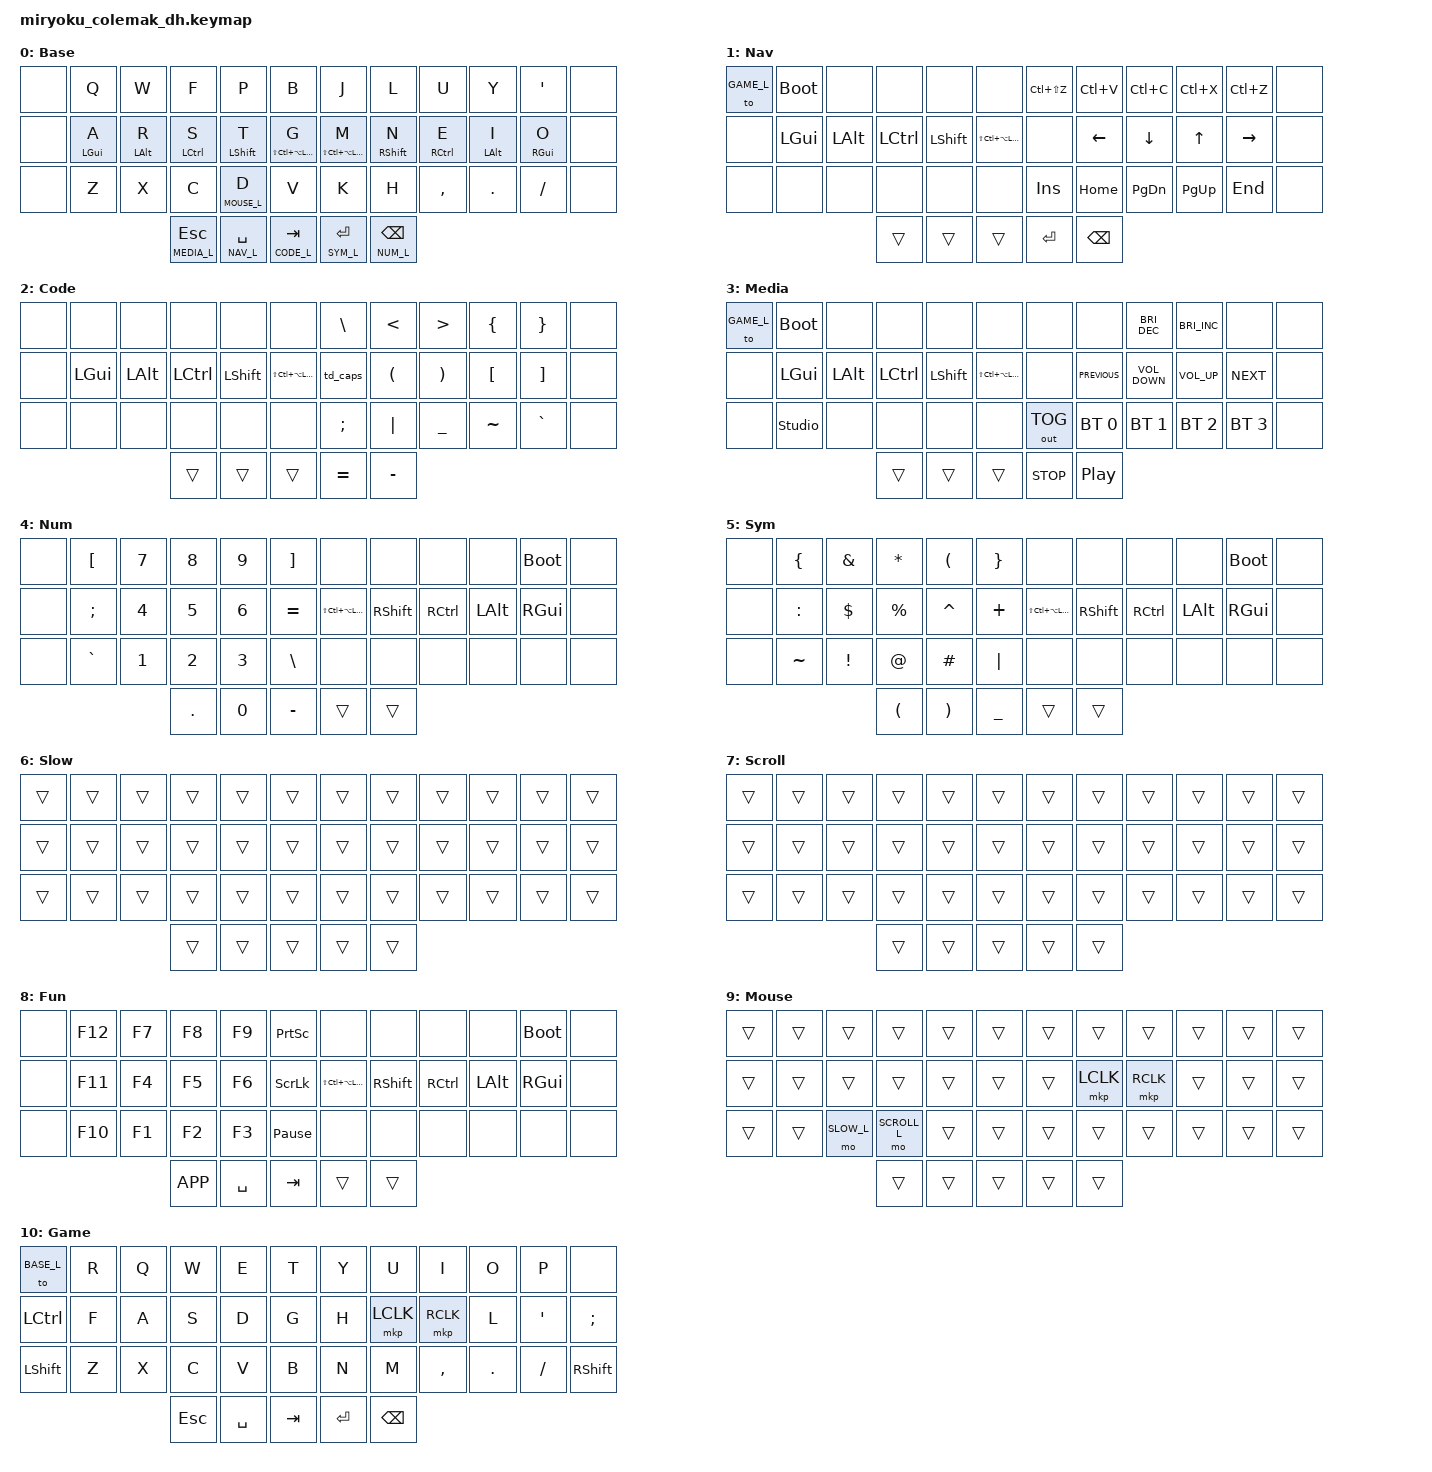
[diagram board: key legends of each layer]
/* upstream bindings and behaviors */
#include <behaviors.dtsi>
#include <dt-bindings/zmk/bt.h>
#include <dt-bindings/zmk/keys.h>
#include <dt-bindings/zmk/mouse.h>
#include <dt-bindings/zmk/outputs.h>
#include <behaviors/mouse_keys.dtsi>
#include <dt-bindings/zmk/ext_power.h>

/* local overlays */
#include "keymap_features/macros.dtsi"
#include "keymap_features/behaviors.dtsi"
/* NOTE: combos.dtsi is intentionally NOT included -- its combos are tuned for
 *       colemak_dh.keymap (e.g. <38 39> -> &td_bore) and collide with the
 *       miryoku thumb chord below. Miryoku-specific combos live in this file. */

/* KEY POSITIONS
// |--0----1----2----3----4----5--|  |--6----7----8----9---10---11--|
// |-12---13---14---15---16---17--|  |-18---19---20---21---22---23--|
// |-24---25---26---27---28---29--|  |-30---31---32---33---34---35--|
//                |-36---37---38-|    |-39---40-|
// Layers 6 and 7 are reserved for trackball modes (slow/scroll). */

/* SLOW_L and SCROLL_L must keep indices 6 and 7.
 * See LAYER INDICES 6 AND 7 ARE RESERVED. */
/* Hyper = all four mods. Hold inner-column home row for Hyper on base;
 * plain &kp HYPER on each layer's same-hand side. */
#define HYPER LS(LC(LA(LGUI)))

#define BASE_L     0
#define NAV_L      1
#define CODE_L     2
#define MEDIA_L    3
#define NUM_L      4
#define SYM_L      5
#define SLOW_L     6
#define SCROLL_L   7
#define FUN_L      8
#define MOUSE_L    9
#define GAME_L    10

/ {
    behaviors {
        /* Thumb layer-taps. Same flavor and term as ZMK's &lt, plus
         * quick-tap-ms. See THUMB QUICK-TAP. */
        lt_qt: layer_tap_quick_tap {
            compatible = "zmk,behavior-hold-tap";
            #binding-cells = <2>;
            flavor = "tap-preferred";
            tapping-term-ms = <200>;
            quick-tap-ms = <150>;
            bindings = <&mo>, <&kp>;    // hold = layer, tap = key code
        };

        /* Inner-column Hyper: hold G or M for Ctrl+Alt+Shift+Gui. */
        ht_hyper_l: hold_tap_hyper_left {
            compatible = "zmk,behavior-hold-tap";
            #binding-cells = <2>;
            flavor = "balanced";
            tapping-term-ms = <200>;
            quick-tap-ms = <175>;
            require-prior-idle-ms = <150>;
            bindings = <&kp>, <&kp>;
            hold-trigger-key-positions = <KEYS_R THUMBS>;
            hold-trigger-on-release;
        };

        ht_hyper_r: hold_tap_hyper_right {
            compatible = "zmk,behavior-hold-tap";
            #binding-cells = <2>;
            flavor = "balanced";
            tapping-term-ms = <200>;
            quick-tap-ms = <175>;
            require-prior-idle-ms = <150>;
            bindings = <&kp>, <&kp>;
            hold-trigger-key-positions = <KEYS_L THUMBS>;
            hold-trigger-on-release;
        };

        /* Tap = caps_word, double-tap = caps_lock. */
        td_caps: tap_dance_caps {
            compatible = "zmk,behavior-tap-dance";
            #binding-cells = <0>;
            tapping-term-ms = <200>;
            bindings = <&caps_word>, <&kp CAPS>;
        };

        /* Hold D to raise MOUSE. */
        ht_mouse: hold_tap_mouse_layer {
            compatible = "zmk,behavior-hold-tap";
            #binding-cells = <2>;
            flavor = "balanced";
            tapping-term-ms = <200>;
            quick-tap-ms = <175>;
            require-prior-idle-ms = <150>;
            hold-trigger-key-positions = <19 20 25 26 27>;  // N E (clicks) + Z X C (modes)
            bindings = <&mo>, <&kp>;
        };
    };

    combos {
        compatible = "zmk,combos";

	// click both mouse keys to create a middle click
        combo_middle_click {
            bindings = <&mkp MCLK>;
            key-positions = <19 20>;
            layers = <MOUSE_L GAME_L>;
            timeout-ms = <50>;
            slow-release;
        };

        /* if we hold the right thumb keys together, it becomes the
         * third right thumb key that we usually expect on such split keyboards */
        /* left thumbs 37+38 = the outer left thumb, one combo per layer */
        combo_thumb3l_base {
            bindings = <&lt_qt MEDIA_L ESC>;
            key-positions = <37 38>;
            layers = <BASE_L>;
            timeout-ms = <50>;
            slow-release;
        };

        combo_thumb3l_num {
            bindings = <&kp DOT>;
            key-positions = <37 38>;
            layers = <NUM_L>;
            timeout-ms = <50>;
        };

        combo_thumb3l_sym {
            bindings = <&kp LPAR>;
            key-positions = <37 38>;
            layers = <SYM_L>;
            timeout-ms = <50>;
        };

        combo_thumb3l_fun {
            bindings = <&kp K_APP>;
            key-positions = <37 38>;
            layers = <FUN_L>;
            timeout-ms = <50>;
        };

        /* awkward on purpose: left thumb layer + two top-row keys */
        combo_bt_clear {
            bindings = <&bt BT_CLR>;
            key-positions = <4 5>;
            layers = <NAV_L MEDIA_L>;
            timeout-ms = <50>;
        };

        combo_thumb3_base {
            bindings = <&lt_qt FUN_L DEL>;
            key-positions = <39 40>;
            layers = <BASE_L>;
            timeout-ms = <150>;
            slow-release;
        };

        combo_thumb3_nav {
            bindings = <&kp DEL>;
            key-positions = <39 40>;
            layers = <NAV_L>;
            timeout-ms = <150>;
        };

        combo_thumb3_media {
            bindings = <&kp K_MUTE>;
            key-positions = <39 40>;
            layers = <MEDIA_L>;
            timeout-ms = <150>;
        };

        combo_caps {
            bindings = <&td_caps>;
            key-positions = <16 19>;
            layers = <BASE_L>;
            timeout-ms = <50>;
        };
    };

    keymap {
        compatible = "zmk,keymap";

        base_layer {
            display-name = "Base";
            bindings = <
    &none       &kp Q            &kp W            &kp F             &kp P                &kp B                &kp J          &kp L              &kp U                 &kp Y                 &kp APOS          &none
    &none       &ht_left LGUI A  &ht_left LALT R  &ht_left LCTRL S  &ht_left LSHFT T     &ht_hyper_l HYPER G  &ht_hyper_r HYPER M  &ht_right RSHFT N  &ht_right RCTRL E     &ht_right LALT I      &ht_right RGUI O  &none
    &none       &kp Z            &kp X            &kp C             &ht_mouse MOUSE_L D  &kp V                &kp K          &kp H              &kp COMMA             &kp DOT               &kp FSLH          &none
                                             &lt_qt MEDIA_L ESC  &lt_qt NAV_L SPACE  &lt_qt CODE_L TAB      &lt_qt SYM_L ENTER  &lt_qt NUM_L BSPC
            >;
        };

        nav_layer {
            display-name = "Nav";
            bindings = <
    &to GAME_L  &bootloader      &none            &none             &none                &none                &kp LC(LS(Z))  &kp LC(V)          &kp LC(C)             &kp LC(X)             &kp LC(Z)         &none
    &none       &kp LGUI         &kp LALT         &kp LCTRL         &kp LSHFT            &kp HYPER            &none          &kp LEFT           &kp DOWN              &kp UP                &kp RIGHT         &none
    &none       &none            &none            &none             &none                &none                &kp INS        &kp HOME           &kp PG_DN             &kp PG_UP             &kp END           &none
                                             &trans              &trans              &trans                   &kp ENTER           &kp BSPC
            >;
        };

        code_layer {
            display-name = "Code";
            bindings = <
    &none       &none            &none            &none             &none                &none                &kp BSLH       &kp LT             &kp GT                &kp LBRC              &kp RBRC          &none
    &none       &kp LGUI         &kp LALT         &kp LCTRL         &kp LSHFT            &kp HYPER            &td_caps       &kp LPAR           &kp RPAR              &kp LBKT              &kp RBKT          &none
    &none       &none            &none            &none             &none                &none                &kp SEMICOLON  &kp PIPE           &kp UNDER             &kp TILDE             &kp GRAVE         &none
                                             &trans              &trans              &trans                   &kp EQUAL           &kp MINUS
            >;
        };

        media_layer {
            display-name = "Media";
            bindings = <
    &to GAME_L  &bootloader      &none            &none             &none                &none                &none          &none              &kp C_BRIGHTNESS_DEC  &kp C_BRIGHTNESS_INC  &none             &none
    &none       &kp LGUI         &kp LALT         &kp LCTRL         &kp LSHFT            &kp HYPER            &none          &kp C_PREVIOUS     &kp C_VOLUME_DOWN     &kp C_VOLUME_UP       &kp C_NEXT        &none
    &none       &studio_unlock   &none            &none             &none                &none                &out OUT_TOG   &bt BT_SEL 0       &bt BT_SEL 1          &bt BT_SEL 2          &bt BT_SEL 3      &none
                                             &trans              &trans              &trans                   &kp C_STOP          &kp C_PLAY_PAUSE
            >;
        };

        num_layer {
            display-name = "Num";
            bindings = <
    &none       &kp LBKT         &kp N7           &kp N8            &kp N9               &kp RBKT             &none          &none              &none                 &none                 &bootloader       &none
    &none       &kp SEMICOLON    &kp N4           &kp N5            &kp N6               &kp EQUAL            &kp HYPER      &kp RSHFT          &kp RCTRL             &kp LALT              &kp RGUI          &none
    &none       &kp GRAVE        &kp N1           &kp N2            &kp N3               &kp BSLH             &none          &none              &none                 &none                 &none             &none
                                             &kp DOT             &kp N0              &kp MINUS                &trans              &trans
            >;
        };

        sym_layer {
            display-name = "Sym";
            bindings = <
    &none       &kp LBRC         &kp AMPS         &kp ASTRK         &kp LPAR             &kp RBRC             &none          &none              &none                 &none                 &bootloader       &none
    &none       &kp COLON        &kp DLLR         &kp PRCNT         &kp CARET            &kp PLUS             &kp HYPER      &kp RSHFT          &kp RCTRL             &kp LALT              &kp RGUI          &none
    &none       &kp TILDE        &kp EXCLAMATION  &kp AT            &kp HASH             &kp PIPE             &none          &none              &none                 &none                 &none             &none
                                             &kp LPAR            &kp RPAR            &kp UNDER                &trans              &trans
            >;
        };

    // TODO: this uggo... get rid of it if we can...
        slow_layer {
            display-name = "Slow";
            bindings = <
    // Pointer-only (idx 6): slow_pointer override, &zip_xy_scaler 2 6.
    &trans      &trans           &trans           &trans            &trans               &trans               &trans         &trans             &trans                &trans                &trans            &trans
    &trans      &trans           &trans           &trans            &trans               &trans               &trans         &trans             &trans                &trans                &trans            &trans
    &trans      &trans           &trans           &trans            &trans               &trans               &trans         &trans             &trans                &trans                &trans            &trans
                                             &trans              &trans              &trans                   &trans              &trans
            >;
        };

    // TODO: this uggo... get rid of it if we can...
        scroll_layer {
            display-name = "Scroll";
            bindings = <
    // Pointer-only (idx 7): scroller override, XY -> scroll, Y inverted.
    &trans      &trans           &trans           &trans            &trans               &trans               &trans         &trans             &trans                &trans                &trans            &trans
    &trans      &trans           &trans           &trans            &trans               &trans               &trans         &trans             &trans                &trans                &trans            &trans
    &trans      &trans           &trans           &trans            &trans               &trans               &trans         &trans             &trans                &trans                &trans            &trans
                                             &trans              &trans              &trans                   &trans              &trans
            >;
        };

        fun_layer {
            display-name = "Fun";
            bindings = <
    &none       &kp F12          &kp F7           &kp F8            &kp F9               &kp PSCRN            &none          &none              &none                 &none                 &bootloader       &none
    &none       &kp F11          &kp F4           &kp F5            &kp F6               &kp SLCK             &kp HYPER      &kp RSHFT          &kp RCTRL             &kp LALT              &kp RGUI          &none
    &none       &kp F10          &kp F1           &kp F2            &kp F3               &kp PAUSE_BREAK      &none          &none              &none                 &none                 &none             &none
                                             &kp K_APP           &kp SPACE           &kp TAB                  &trans              &trans
            >;
        };

        mouse_layer {
            display-name = "Mouse";
            bindings = <
    // mouse-mode activated by left index finger. hold for fancy mouse on right.
    // includes nifty controls on the left bottom row
    &trans      &trans           &trans           &trans            &trans               &trans               &trans         &trans             &trans                &trans                &trans            &trans
    &trans      &trans           &trans           &trans            &trans               &trans               &trans         &mkp LCLK          &mkp RCLK             &trans                &trans            &trans
    &trans      &trans           &mo SLOW_L       &mo SCROLL_L      &trans               &trans               &trans         &trans             &trans                &trans                &trans            &trans
                                             &trans              &trans              &trans                   &trans              &trans
            >;
        };

        game_layer {
            display-name = "Game";
            bindings = <
    // game mode, keep in mind R and F are shifted to the left for this
    // we also sacrifice some keys for left and right click oopsie
    &to BASE_L  &kp R            &kp Q            &kp W             &kp E                &kp T                &kp Y          &kp U              &kp I                 &kp O                 &kp P             &none
    &kp LCTRL   &kp F            &kp A            &kp S             &kp D                &kp G                &kp H          &mkp LCLK          &mkp RCLK             &kp L                 &kp APOS          &kp SEMICOLON
    &kp LSHFT   &kp Z            &kp X            &kp C             &kp V                &kp B                &kp N          &kp M              &kp COMMA             &kp DOT               &kp FSLH          &kp RSHFT
                                             &kp ESC             &kp SPACE           &kp TAB                  &kp ENTER           &kp BSPC
            >;
        };
    };
};
